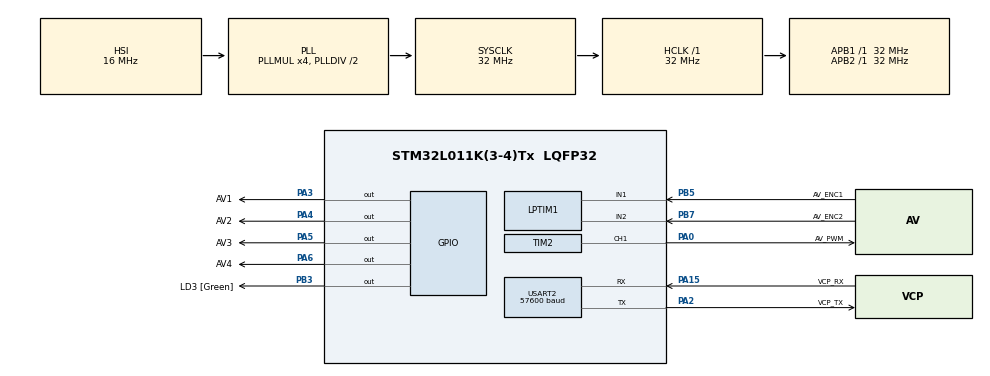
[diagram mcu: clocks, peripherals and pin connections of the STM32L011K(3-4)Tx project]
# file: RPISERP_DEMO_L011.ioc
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Dma.Request0=USART2_RX
Dma.Request1=USART2_TX
Dma.USART2_RX.0.Direction=DMA_PERIPH_TO_MEMORY
Dma.USART2_RX.0.Instance=DMA1_Channel5
Dma.USART2_RX.0.MemDataAlignment=DMA_MDATAALIGN_BYTE
Dma.USART2_RX.0.MemInc=DMA_MINC_ENABLE
Dma.USART2_RX.0.Mode=DMA_NORMAL
Dma.USART2_RX.0.PeriphDataAlignment=DMA_PDATAALIGN_BYTE
Dma.USART2_RX.0.PeriphInc=DMA_PINC_DISABLE
Dma.USART2_RX.0.Priority=DMA_PRIORITY_LOW
Dma.USART2_TX.1.Direction=DMA_MEMORY_TO_PERIPH
Dma.USART2_TX.1.Instance=DMA1_Channel4
Dma.USART2_TX.1.MemDataAlignment=DMA_MDATAALIGN_BYTE
Dma.USART2_TX.1.MemInc=DMA_MINC_ENABLE
Dma.USART2_TX.1.Mode=DMA_NORMAL
Dma.USART2_TX.1.PeriphDataAlignment=DMA_PDATAALIGN_BYTE
Dma.USART2_TX.1.PeriphInc=DMA_PINC_DISABLE
Dma.USART2_TX.1.Priority=DMA_PRIORITY_LOW
Mcu.Family=STM32L0
Mcu.Name=STM32L011K(3-4)Tx
Mcu.Package=LQFP32
NVIC.DMA1_Channel4_5_IRQn=true\:0\:0\:false\:false\:false\:false\:false\:true
NVIC.USART2_IRQn=true\:0\:0\:false\:false\:false\:true\:false\:true
PA0-CK_IN.GPIO_Label=AV_PWM
PA0-CK_IN.Signal=S_TIM2_CH1
PA13.GPIO_Label=TMS
PA13.Mode=Serial_Wire
PA13.Signal=SYS_SWDIO
PA14.GPIO_Label=TCK
PA14.Mode=Serial_Wire
PA14.Signal=SYS_SWCLK
PA15.GPIO_Label=VCP_RX
PA15.Mode=Asynchronous
PA15.Signal=USART2_RX
PA2.GPIO_Label=VCP_TX
PA2.Mode=Asynchronous
PA2.Signal=USART2_TX
PA3.GPIO_Label=AV1
PA3.Signal=GPIO_Output
PA4.GPIO_Label=AV2
PA4.Signal=GPIO_Output
PA5.GPIO_Label=AV3
PA5.Signal=GPIO_Output
PA6.GPIO_Label=AV4
PA6.Signal=GPIO_Output
PB3.GPIO_Label=LD3 [Green]
PB3.Signal=GPIO_Output
PB5.GPIO_Label=AV_ENC1
PB5.Mode=Encoder_mode_occur1
PB5.Signal=LPTIM1_IN1
PB7.GPIO_Label=AV_ENC2
PB7.Mode=Encoder_mode_occur1
PB7.Signal=LPTIM1_IN2
PC14-OSC32_IN.Mode=LSE-External-Oscillator
PC14-OSC32_IN.Signal=RCC_OSC32_IN
PC15-OSC32_OUT.Mode=LSE-External-Oscillator
PC15-OSC32_OUT.Signal=RCC_OSC32_OUT
ProjectManager.HeapSize=0x7F
ProjectManager.StackSize=0x100
ProjectManager.TargetToolchain=STM32CubeIDE
RCC.AHBFreq_Value=32000000
RCC.APB1Freq_Value=32000000
RCC.APB1TimFreq_Value=32000000
RCC.APB2Freq_Value=32000000
RCC.APB2TimFreq_Value=32000000
RCC.HCLKFreq_Value=32000000
RCC.HSE_VALUE=8000000
RCC.HSI16_VALUE=16000000
RCC.HSI48_VALUE=48000000
RCC.HSI_VALUE=16000000
RCC.MSI_VALUE=2097000
RCC.PLLMUL=RCC_PLLMUL_4
RCC.SYSCLKFreq_VALUE=32000000
RCC.SYSCLKSource=RCC_SYSCLKSOURCE_PLLCLK
RCC.VCOOutputFreq_Value=64000000
SH.S_TIM2_CH1.0=TIM2_CH1,PWM Generation1 CH1
TIM2.Channel-PWM\ Generation1\ CH1=TIM_CHANNEL_1
TIM2.Period=10000
TIM2.Prescaler=32
USART2.BaudRate=57600
USART2.VirtualMode-Asynchronous=VM_ASYNC
VP_TIM2_VS_ClockSourceINT.Mode=Internal
board=NUCLEO-L011K4

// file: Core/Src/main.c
/* USER CODE BEGIN Header */
/**
  ******************************************************************************
  * @file           : main.c
  * @brief          : Main program body
  ******************************************************************************
  * @attention
  *
  * Copyright (c) 2022 STMicroelectronics.
  * All rights reserved.
  *
  * This software is licensed under terms that can be found in the LICENSE file
  * in the root directory of this software component.
  * If no LICENSE file comes with this software, it is provided AS-IS.
  *
  ******************************************************************************
  */
/* USER CODE END Header */
#include "main.h"
#include "dma.h"
#include "lptim.h"
#include "tim.h"
#include "usart.h"
#include "gpio.h"

/* USER CODE BEGIN Includes */

//#include "RPISERP.h"
#include "AVC.h"

/* USER CODE END Includes */

void SystemClock_Config(void);

/* USER CODE BEGIN 0 */

uint8_t mDbgCmd;

/* USER CODE END 0 */

int main(void)
{

  /* MCU Configuration--------------------------------------------------------*/

  /* Reset of all peripherals, Initializes the Flash interface and the Systick. */
  HAL_Init();

  /* Configure the system clock */
  SystemClock_Config();

  /* Initialize all configured peripherals */
  MX_GPIO_Init();
  MX_DMA_Init();
  MX_USART2_UART_Init();
  MX_TIM2_Init();
  MX_LPTIM1_Init();

  /* Infinite loop */
  /* USER CODE BEGIN WHILE */

//  RSP_Init(&huart2, hdma_usart2_tx.Instance, hdma_usart2_rx.Instance);

  AVC_Init();

  while (1)
  {
   // HAL_Delay(txPeriod_ms);
   // HAL_GPIO_TogglePin(LD3_GPIO_Port, LD3_Pin);

    switch(mDbgCmd)
    {
      case 0:
        // do nothing
        break;
      case 1:
        AVC_RunOpen();
        mDbgCmd  = 0;
        break;
      case 2:
        AVC_RunClose();
        mDbgCmd  = 0;
        break;
      case 3:
        AVC_Stop();
        mDbgCmd  = 0;
        break;
      default:
        break;
    }

    /* USER CODE END WHILE */

  }
}

void SystemClock_Config(void)
{
  RCC_OscInitTypeDef RCC_OscInitStruct = {0};
  RCC_ClkInitTypeDef RCC_ClkInitStruct = {0};
  RCC_PeriphCLKInitTypeDef PeriphClkInit = {0};

  /** Configure the main internal regulator output voltage
  */
  __HAL_PWR_VOLTAGESCALING_CONFIG(PWR_REGULATOR_VOLTAGE_SCALE1);

  /** Initializes the RCC Oscillators according to the specified parameters
  * in the RCC_OscInitTypeDef structure.
  */
  RCC_OscInitStruct.OscillatorType = RCC_OSCILLATORTYPE_HSI;
  RCC_OscInitStruct.HSIState = RCC_HSI_ON;
  RCC_OscInitStruct.HSICalibrationValue = RCC_HSICALIBRATION_DEFAULT;
  RCC_OscInitStruct.PLL.PLLState = RCC_PLL_ON;
  RCC_OscInitStruct.PLL.PLLSource = RCC_PLLSOURCE_HSI;
  RCC_OscInitStruct.PLL.PLLMUL = RCC_PLLMUL_4;
  RCC_OscInitStruct.PLL.PLLDIV = RCC_PLLDIV_2;
  if (HAL_RCC_OscConfig(&RCC_OscInitStruct) != HAL_OK)
  {
    Error_Handler();
  }

  /** Initializes the CPU, AHB and APB buses clocks
  */
  RCC_ClkInitStruct.ClockType = RCC_CLOCKTYPE_HCLK|RCC_CLOCKTYPE_SYSCLK
                              |RCC_CLOCKTYPE_PCLK1|RCC_CLOCKTYPE_PCLK2;
  RCC_ClkInitStruct.SYSCLKSource = RCC_SYSCLKSOURCE_PLLCLK;
  RCC_ClkInitStruct.AHBCLKDivider = RCC_SYSCLK_DIV1;
  RCC_ClkInitStruct.APB1CLKDivider = RCC_HCLK_DIV1;
  RCC_ClkInitStruct.APB2CLKDivider = RCC_HCLK_DIV1;

  if (HAL_RCC_ClockConfig(&RCC_ClkInitStruct, FLASH_LATENCY_1) != HAL_OK)
  {
    Error_Handler();
  }
  PeriphClkInit.PeriphClockSelection = RCC_PERIPHCLK_USART2|RCC_PERIPHCLK_LPTIM1;
  PeriphClkInit.Usart2ClockSelection = RCC_USART2CLKSOURCE_PCLK1;
  PeriphClkInit.LptimClockSelection = RCC_LPTIM1CLKSOURCE_PCLK;

  if (HAL_RCCEx_PeriphCLKConfig(&PeriphClkInit) != HAL_OK)
  {
    Error_Handler();
  }
}

void Error_Handler(void)
{
  __disable_irq();
  while (1)
  {
  }
}
